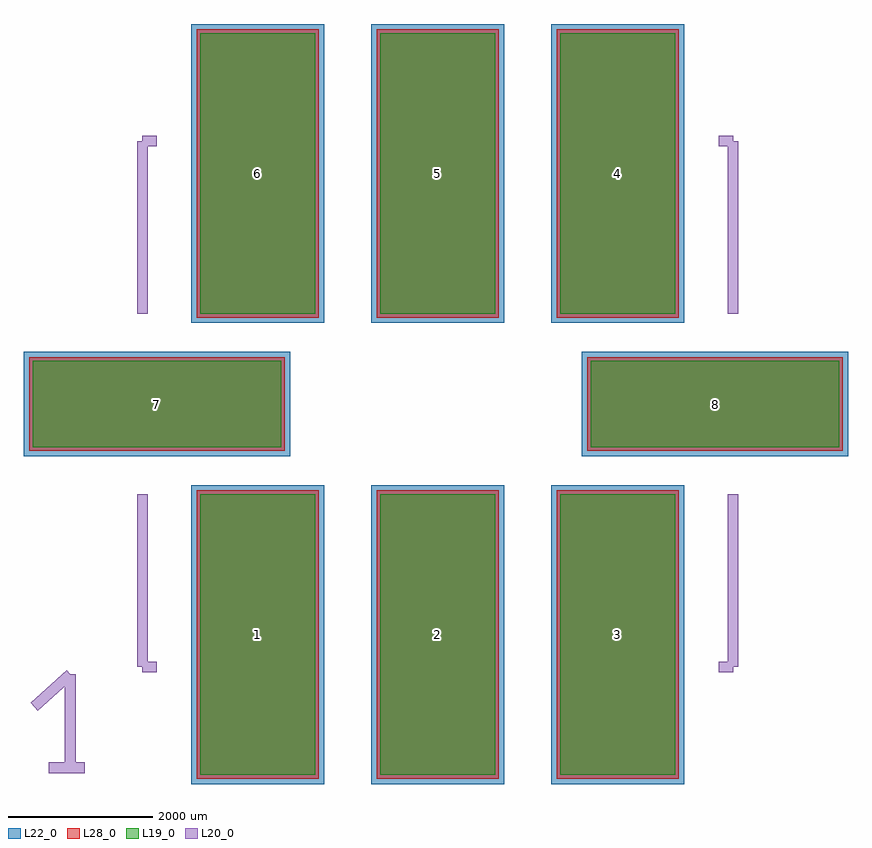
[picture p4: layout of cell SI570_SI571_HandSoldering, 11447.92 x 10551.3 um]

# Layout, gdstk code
import gdstk
lib = gdstk.Library(unit=1e-6, precision=1e-09)
def R(c, l, rs):  # rectangles x0, y0, x1, y1
    for r in rs: c.add(gdstk.rectangle(r[:2], r[2:], *l))
def A(c, l, x, y, w, h, nx, ny, dx, dy):  # array of equal rectangles
    R(c, l, [(x+i*dx, y+j*dy, x+i*dx+w, y+j*dy+h) for i in range(nx) for j in range(ny)])
L19_0 = (19, 0)
L20_0 = (20, 0)
L22_0 = (22, 0)
L28_0 = (28, 0)

si570_si571_handsolderin = lib.new_cell('SI570_SI571_HandSoldering')
A(si570_si571_handsolderin, L19_0, -3298.99, -5150.65, 1599.26, 3900.5, 3, 2, 2499.36, 6400.8)
R(si570_si571_handsolderin, L19_0, [(-5623.09,-600.24,-2174.71,600.24), (2126.45,-600.24,5574.83,600.24)])
A(si570_si571_handsolderin, L22_0, -3423.99, -5275.65, 1849.26, 4150.5, 3, 2, 2499.36, 6400.8)
R(si570_si571_handsolderin, L22_0, [(-5748.09,-725.24,-2049.71,725.24), (2001.45,-725.24,5699.83,725.24)])
A(si570_si571_handsolderin, L28_0, -3348.99, -5200.65, 1699.26, 4000.5, 3, 2, 2499.36, 6400.8)
R(si570_si571_handsolderin, L28_0, [(-5673.09,-650.24,-2124.71,650.24), (2076.45,-650.24,5624.83,650.24)])
si570_si571_handsolderin.add(gdstk.FlexPath([(4099.56,3649.98),(4099.56,1249.68)], 149.998, ends="flush", simple_path=True, layer=20, datatype=0))  # L20_0
si570_si571_handsolderin.add(gdstk.FlexPath([(4099.56,-3649.98),(4099.56,-1249.68)], 149.998, ends="flush", simple_path=True, layer=20, datatype=0))  # L20_0
si570_si571_handsolderin.add(gdstk.FlexPath([(-4099.56,3649.98),(-4099.56,1249.68)], 149.998, ends="flush", simple_path=True, layer=20, datatype=0))  # L20_0
si570_si571_handsolderin.add(gdstk.FlexPath([(-4099.56,-3649.98),(-4099.56,-1249.68)], 149.998, ends="flush", simple_path=True, layer=20, datatype=0))  # L20_0
si570_si571_handsolderin.add(gdstk.FlexPath([(4099.56,3649.98),(3898.9,3649.98)], 149.998, ends="flush", simple_path=True, layer=20, datatype=0))  # L20_0
si570_si571_handsolderin.add(gdstk.FlexPath([(4099.56,-3649.98),(3898.9,-3649.98)], 149.998, ends="flush", simple_path=True, layer=20, datatype=0))  # L20_0
si570_si571_handsolderin.add(gdstk.FlexPath([(-4099.56,3649.98),(-3898.9,3649.98)], 149.998, ends="flush", simple_path=True, layer=20, datatype=0))  # L20_0
si570_si571_handsolderin.add(gdstk.FlexPath([(-4099.56,-3649.98),(-3898.9,-3649.98)], 149.998, ends="flush", simple_path=True, layer=20, datatype=0))  # L20_0
si570_si571_handsolderin.add(gdstk.FlexPath([(-5100.32,-3749.04),(-5100.32,-5001.26)], 149.998, ends="flush", simple_path=True, layer=20, datatype=0))  # L20_0
si570_si571_handsolderin.add(gdstk.FlexPath([(-5600.7,-4201.16),(-5100.32,-3749.04)], 149.998, ends="flush", simple_path=True, layer=20, datatype=0))  # L20_0
si570_si571_handsolderin.add(gdstk.FlexPath([(-5400.04,-5049.52),(-4899.66,-5049.52)], 149.998, ends="flush", simple_path=True, layer=20, datatype=0))  # L20_0
si570_si571_handsolderin.add(gdstk.Label('8', (3850.64,0), layer=28, texttype=0))
si570_si571_handsolderin.add(gdstk.Label('7', (-3898.9,0), layer=28, texttype=0))
si570_si571_handsolderin.add(gdstk.Label('6', (-2499.36,3200.4), layer=28, texttype=0))
si570_si571_handsolderin.add(gdstk.Label('5', (0,3200.4), layer=28, texttype=0))
si570_si571_handsolderin.add(gdstk.Label('4', (2499.36,3200.4), layer=28, texttype=0))
si570_si571_handsolderin.add(gdstk.Label('3', (2499.36,-3200.4), layer=28, texttype=0))
si570_si571_handsolderin.add(gdstk.Label('2', (0,-3200.4), layer=28, texttype=0))
si570_si571_handsolderin.add(gdstk.Label('1', (-2499.36,-3200.4), layer=28, texttype=0))
si570_si571_handsolderin.add(gdstk.Label('type', (-299.72,-7299.96), layer=9, texttype=0))
si570_si571_handsolderin.add(gdstk.Label('devicename', (-50.8,7000.24), layer=9, texttype=0))

lib.write_gds('SI570_SI571_HandSoldering.gds')
